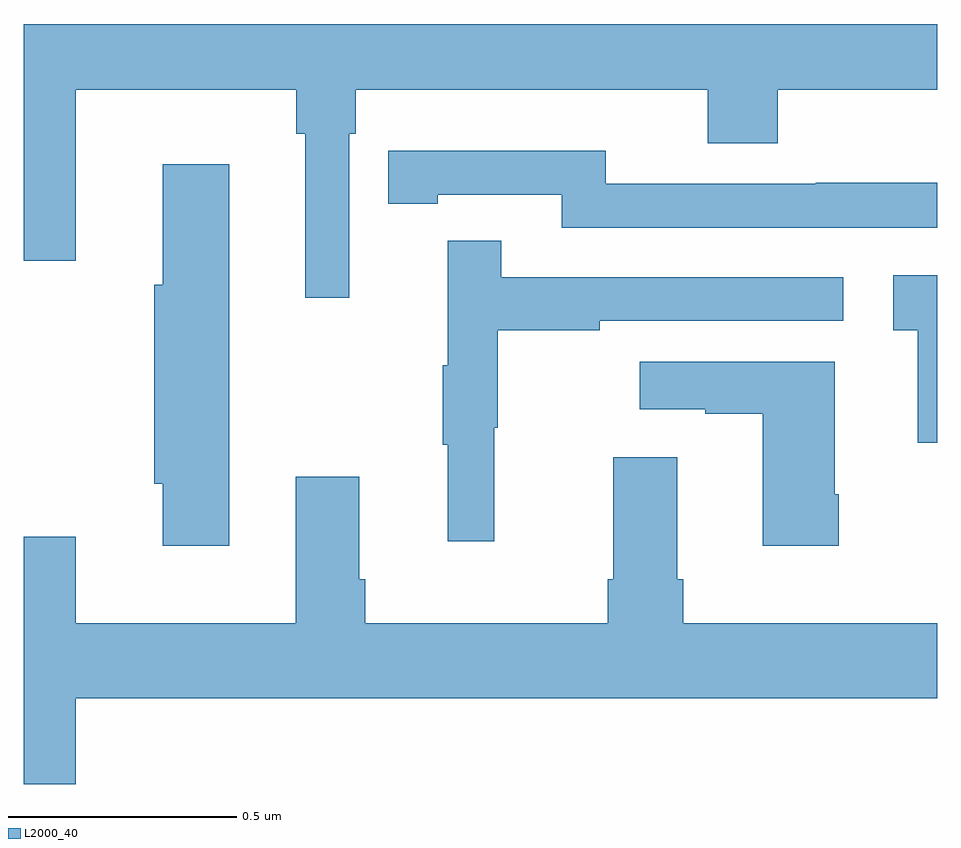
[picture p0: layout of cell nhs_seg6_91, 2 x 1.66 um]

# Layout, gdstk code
import gdstk
lib = gdstk.Library(unit=1e-6, precision=1e-09)
def P(c, l, *ps):  # polygons
    for p in ps: c.add(gdstk.Polygon(p, *l))
L2000_40 = (2000, 40)

nhs_seg6_91 = lib.new_cell('nhs_seg6_91')
P(nhs_seg6_91, L2000_40, [(112.713,927.26),(112.727,927.26),(112.727,927.356),(113.498,927.356),(113.498,927.239),(113.651,927.239),(113.651,927.356),(114,927.356),(114,927.5),(112,927.5),(112,926.982),(112.114,926.982),(112.114,927.356),(112.597,927.356),(112.597,927.26),(112.616,927.26),(112.616,926.901),(112.713,926.901)],
  [(114,927.152),(113.734,927.152),(113.734,927.15),(113.274,927.15),(113.274,927.223),(112.906,927.223),(112.906,927.222),(112.798,927.222),(112.798,927.106),(112.906,927.106),(112.906,927.126),(113.178,927.126),(113.178,927.054),(114,927.054)],
  [(112.45,927.193),(112.304,927.193),(112.304,926.929),(112.286,926.929),(112.286,926.493),(112.304,926.493),(112.304,926.358),(112.45,926.358)],
  [(113.03,926.616),(113.038,926.616),(113.038,926.83),(113.261,926.83),(113.261,926.85),(113.794,926.85),(113.794,926.946),(113.045,926.946),(113.045,927.025),(112.928,927.025),(112.928,926.753),(112.917,926.753),(112.917,926.579),(112.928,926.579),(112.928,926.367),(113.03,926.367)],
  [(114,926.95),(113.904,926.95),(113.904,926.829),(113.957,926.829),(113.957,926.583),(114,926.583)],
  [(113.784,926.47),(113.776,926.47),(113.776,926.761),(113.349,926.761),(113.349,926.657),(113.492,926.657),(113.492,926.647),(113.618,926.647),(113.618,926.358),(113.784,926.358)],
  [(112.114,926.024),(114,926.024),(114,926.188),(113.444,926.188),(113.444,926.284),(113.431,926.284),(113.431,926.551),(113.291,926.551),(113.291,926.284),(113.279,926.284),(113.279,926.188),(112.748,926.188),(112.748,926.284),(112.735,926.284),(112.735,926.509),(112.595,926.509),(112.595,926.188),(112.114,926.188),(112.114,926.377),(112,926.377),(112,925.836),(112.114,925.836)])

lib.write_gds('nhs_seg6_91.gds')
